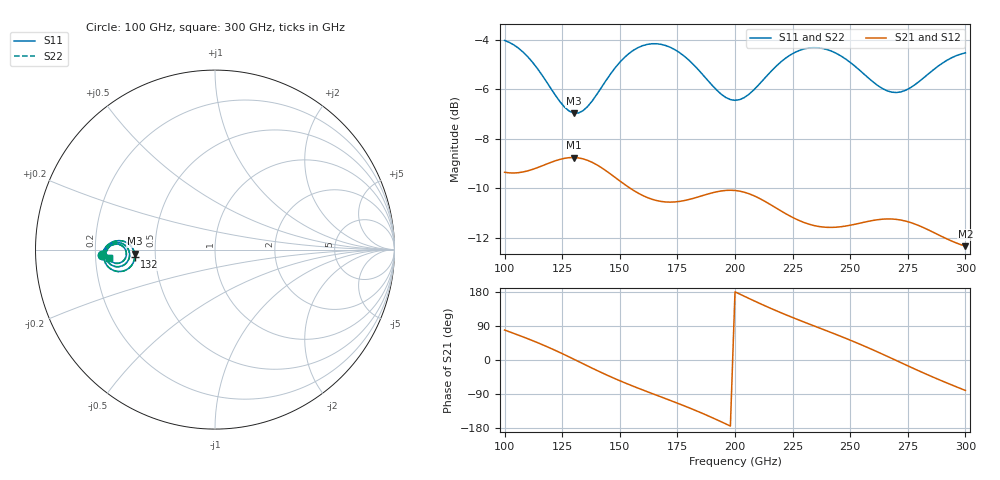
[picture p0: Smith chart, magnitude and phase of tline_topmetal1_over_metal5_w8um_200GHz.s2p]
#  GHZ S DB R 50
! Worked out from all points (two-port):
!   101 points, 100 GHz to 300 GHz, reference 50 ohm
!   highest |S21| = -8.75 dB at 130 GHz (marker M1); lowest = -12.3 dB at 300 GHz (marker M2)
!   |S21| within 3 dB of the highest: start of sweep to 285.5 GHz
!   lowest |S11| = -7.0 dB at 130 GHz (marker M3), VSWR 2.63, Z = 19 - j1.06 ohm
!   |S11| at or under -10 dB: nowhere
!   |S22| runs from -7.0 to -4.0 dB; largest |S21 - S12| = 3.4e-13
!   S11 on the Smith chart (normalised r, x): 100 GHz: 0.23, -0.02; 132 GHz: 0.38, -0.04; 300 GHz: 0.25, -0.04
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100  -4.02 -177.5  -9.35 79.1  -9.35 79.1  -4.02 -177.5
116  -5.38 174.7  -9.10 41.4  -9.10 41.4  -5.39 174.6
124  -6.49 177.0  -8.83 19.7  -8.83 19.7  -6.49 177.0
130  -6.96 -177.2  -8.75 2.2  -8.75 2.2  -6.96 -177.1
132  -6.95 -174.8  -8.77 -3.7  -8.77 -3.7  -6.96 -174.8
134  -6.86 -172.6  -8.81 -9.7  -8.81 -9.7  -6.87 -172.6
142  -5.92 -167.2  -9.16 -33.0  -9.16 -33.0  -5.92 -167.1
150  -4.90 -167.9  -9.70 -54.7  -9.70 -54.7  -4.90 -167.9
160  -4.22 -173.0  -10.29 -79.2  -10.29 -79.2  -4.22 -173.0
168  -4.17 -177.8  -10.53 -97.7  -10.53 -97.7  -4.18 -177.7
184  -5.19 175.9  -10.35 -136.0  -10.35 -136.0  -5.19 175.9
192  -6.02 177.4  -10.14 -157.4  -10.14 -157.4  -6.02 177.4
200  -6.44 -177.0  -10.09 179.9  -10.09 179.9  -6.44 -177.0
208  -6.03 -171.5  -10.29 156.9  -10.29 156.9  -6.03 -171.4
216  -5.23 -170.0  -10.69 135.0  -10.69 135.0  -5.23 -169.9
224  -4.60 -172.0  -11.13 114.6  -11.13 114.6  -4.60 -172.0
234  -4.31 -176.6  -11.50 90.6  -11.50 90.6  -4.31 -176.5
252  -5.05 176.9  -11.46 47.3  -11.46 47.3  -5.05 177.0
268  -6.11 -178.6  -11.24 4.3  -11.24 4.3  -6.11 -178.5
276  -5.94 -174.0  -11.38 -18.1  -11.38 -18.1  -5.94 -173.9
284  -5.36 -172.0  -11.69 -40.0  -11.69 -40.0  -5.36 -171.9
300  -4.52 -175.6  -12.34 -80.3  -12.34 -80.3  -4.52 -175.5
